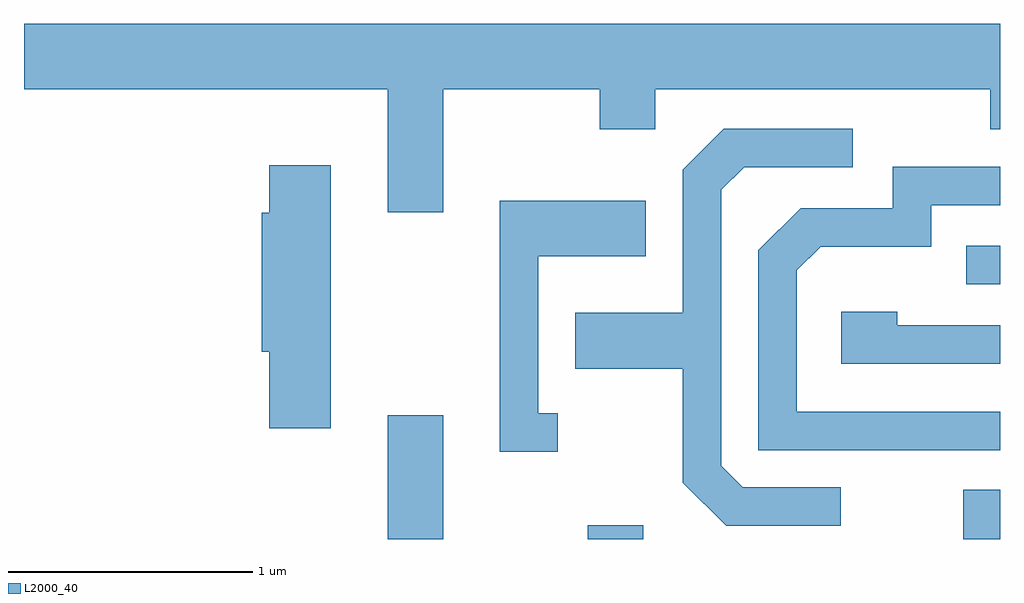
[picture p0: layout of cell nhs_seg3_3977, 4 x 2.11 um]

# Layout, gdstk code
import gdstk
lib = gdstk.Library(unit=1e-6, precision=1e-09)
def R(c, l, rs):  # rectangles x0, y0, x1, y1
    for r in rs: c.add(gdstk.rectangle(r[:2], r[2:], *l))
def P(c, l, *ps):  # polygons
    for p in ps: c.add(gdstk.Polygon(p, *l))
L2000_40 = (2000, 40)

nhs_seg3_3977 = lib.new_cell('nhs_seg3_3977')
R(nhs_seg3_3977, L2000_40, [(303.101,1181.892,303.329,1182.399), (303.921,1181.892,304.149,1181.949), (305.461,1181.892,305.611,1182.094), (305.473,1182.936,305.611,1183.094)])
P(nhs_seg3_3977, L2000_40, [(303.329,1183.736),(303.971,1183.736),(303.971,1183.571),(304.199,1183.571),(304.199,1183.736),(305.571,1183.736),(305.571,1183.571),(305.611,1183.571),(305.611,1184.004),(301.611,1184.004),(301.611,1183.736),(303.101,1183.736),(303.101,1183.231),(303.329,1183.231)],
  [(304.958,1182.104),(304.557,1182.104),(304.469,1182.192),(304.469,1183.324),(304.562,1183.416),(305.008,1183.416),(305.008,1183.574),(304.479,1183.574),(304.311,1183.407),(304.311,1182.819),(303.871,1182.819),(303.871,1182.591),(304.311,1182.591),(304.311,1182.124),(304.489,1181.946),(304.958,1181.946)],
  [(302.869,1183.424),(302.616,1183.424),(302.616,1183.229),(302.586,1183.229),(302.586,1182.661),(302.616,1182.661),(302.616,1182.346),(302.869,1182.346)],
  [(305.611,1182.414),(304.779,1182.414),(304.779,1182.994),(304.877,1183.091),(305.329,1183.091),(305.329,1183.261),(305.611,1183.261),(305.611,1183.419),(305.171,1183.419),(305.171,1183.249),(304.794,1183.249),(304.621,1183.077),(304.621,1182.256),(305.611,1182.256)],
  [(303.798,1182.409),(303.719,1182.409),(303.719,1183.051),(304.159,1183.051),(304.159,1183.279),(303.561,1183.279),(303.561,1182.251),(303.798,1182.251)],
  [(305.611,1182.769),(305.189,1182.769),(305.189,1182.824),(304.961,1182.824),(304.961,1182.611),(305.611,1182.611)])

lib.write_gds('nhs_seg3_3977.gds')
